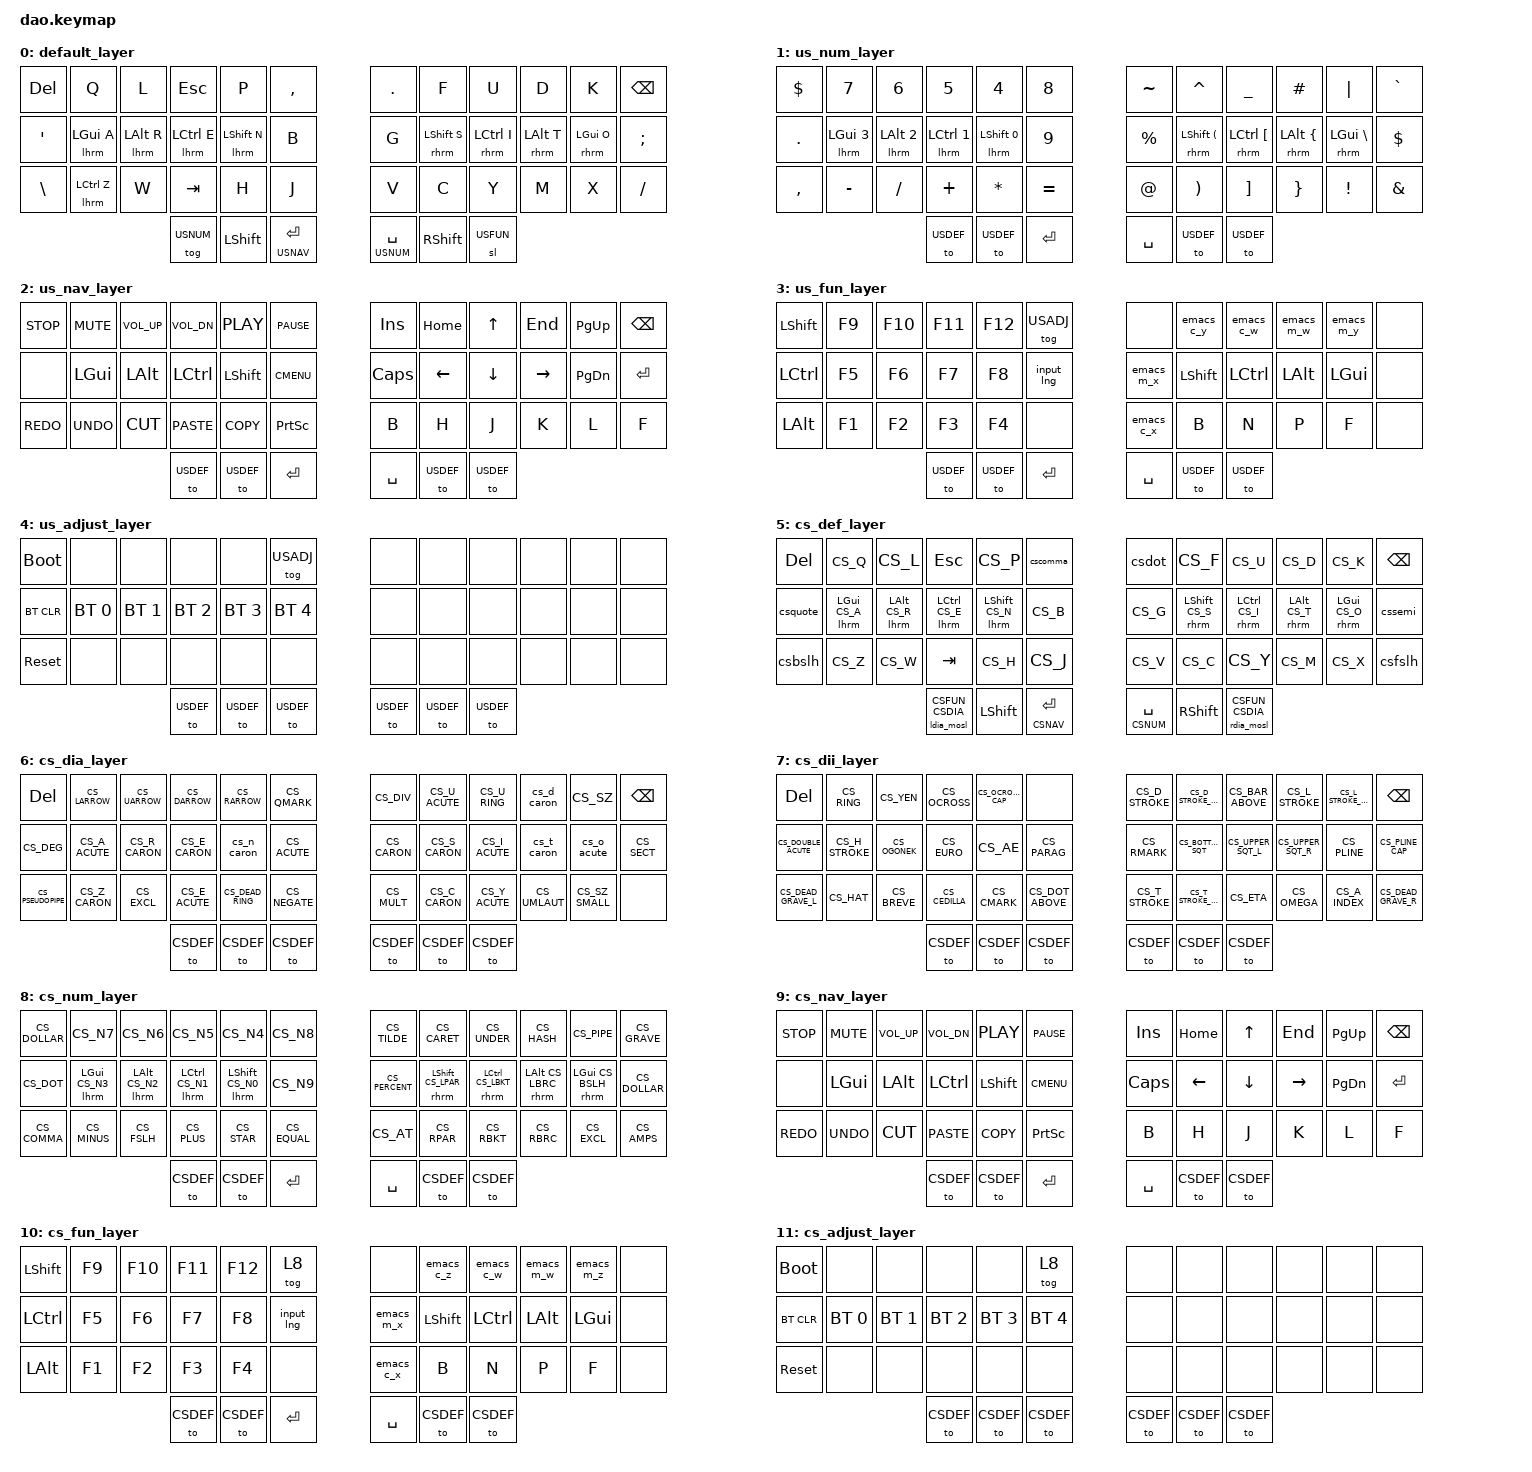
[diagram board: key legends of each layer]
/*
 * Copyright (c) 2021 Rafael Yumagulov
 *
 * SPDX-License-Identifier: MIT
 */

#include <behaviors.dtsi>
#include <dt-bindings/zmk/keys.h>
#include <dt-bindings/zmk/bt.h>

// Czech Linux keyboard
#include "keys_cs.h"

// Layer numbers
#define USDEF 0
#define USNUM 1
#define USNAV 2
#define USFUN 3
#define USADJ 4
#define CSDEF 5
#define CSDIA 6
#define CSDII 7
#define CSNUM 8
#define CSNAV 9
#define CSFUN 10
#define CSADJ 11

// Other number definitions
#define TAPPING_TERM 150
#define SHIFT_TAP_MS 170
#define QUICK_TAP_MS 110
#define PRIOR_IDLE_MS 150
#define COMBO_TIME_MS 25

// Behavior customizations
// settings and homerow mods inspired by https://github.com/urob/zmk-config/

&sk {
    release-after-ms = <900>;
    quick-release;
};

&sl {
    ignore-modifiers;
};

&lt {
    flavor = "balanced";
    tapping-term-ms = <TAPPING_TERM>;
    quick-tap-ms = <QUICK_TAP_MS>;
};

&mt {
    quick_tap_ms = <QUICK_TAP_MS>;
};

// ZMK feature macros
// https://github.com/filterpaper/zmk-config

//additional  arguments for hold-trigger-key-positions and hold-trigger-on-release
// customizable hold-tap for keypress
#define HTK(name, tap_flavor, tap_term, ...)  \
name: name##_hold_tap {                       \
    label           = #name;                  \
    flavor          = #tap_flavor;            \
    compatible      = "zmk,behavior-hold-tap";\
    tapping-term-ms = <tap_term>;             \
    quick-tap-ms    = <QUICK_TAP_MS>;         \
    require-prior-idle-ms = <PRIOR_IDLE_MS>;  \
    #binding-cells  = <2>;                    \
    bindings        = <&kp>, <&kp>;           \
    __VA_ARGS__                               \
};

// customizeble hold-tap for any behavior
#define HTMOSL(name, tap_flavor, tap_term, ...) \
name: name##_hold_tap {                       \
    label           = #name;                  \
    flavor          = #tap_flavor;            \
    compatible      = "zmk,behavior-hold-tap";\
    tapping-term-ms = <tap_term>;             \
    quick-tap-ms    = <QUICK_TAP_MS>;         \
    require-prior-idle-ms = <PRIOR_IDLE_MS>;  \
    #binding-cells = <2>;                     \
    bindings        = <&mo>, <&sl>;           \
    __VA_ARGS__                               \
};

// one-line combos
#define COMBO(name, pos, lrs, kp)    \
combo_##name {                       \
    timeout-ms    = <25>; \
    bindings      = <kp>;            \
    key-positions = <pos>;           \
    layers        = <lrs>;           \
};

// one-line macros
#define MACRO(name, ...)                  \
name: name##_macro {                      \
    label          = #name;               \
    compatible     = "zmk,behavior-macro";\
    tap-ms         = <1>;                 \
    wait-ms        = <1>;                 \
    #binding-cells = <0>;                 \
    bindings       = __VA_ARGS__          \
};

/ {
    chosen {
        zmk,matrix_transform = &default_transform;
        // zmk,matrix_transform = &extra_keys_transform;
    };
};

/ {
        macros {
             // Czech symbols
             MACRO(cs_t_caron, <&macro_tap &kp CS_CARON &kp CS_T>;)
             MACRO(cs_n_caron, <&macro_tap &kp CS_CARON &kp CS_N>;)
             MACRO(cs_d_caron, <&macro_tap &kp CS_CARON &kp CS_D>;)
             MACRO(cs_o_acute, <&macro_tap &kp CS_ACUTE &kp CS_O>;)
             // Emacs convenience macros
             MACRO(emacs_c_x, <&macro_press &kp LCTRL>, <&macro_tap &kp X>, <&macro_release &kp LCTRL>;)
             MACRO(emacs_c_y, <&macro_press &kp LCTRL>, <&macro_tap &kp Y>, <&macro_release &kp LCTRL>;)
             MACRO(emacs_c_z, <&macro_press &kp LCTRL>, <&macro_tap &kp Y>, <&macro_release &kp LCTRL>;)
             MACRO(emacs_c_x_e, <&macro_press &kp LCTRL> , <&macro_tap &kp X> , <&macro_release &kp LCTRL> , <&macro_tap &kp E>;)
             MACRO(emacs_c_w, <&macro_press &kp LCTRL> , <&macro_tap &kp W> , <&macro_release &kp LCTRL>;)
             MACRO(emacs_c_x_u, <&macro_press &kp LCTRL> , <&macro_tap &kp X> , <&macro_release &kp LCTRL> , <&macro_tap &kp U>;)
             MACRO(emacs_c_x_r, <&macro_press &kp LCTRL> , <&macro_tap &kp X> , <&macro_release &kp LCTRL> , <&macro_tap &kp R>;)
             MACRO(emacs_m_x, <&macro_press &kp LALT> , <&macro_tap &kp X> , <&macro_release &kp LALT>;)
             MACRO(emacs_m_w, <&macro_press &kp LALT> , <&macro_tap &kp W> , <&macro_release &kp LALT>;)
             MACRO(emacs_m_y, <&macro_press &kp LALT> , <&macro_tap &kp Y> , <&macro_release &kp LALT>;)
             MACRO(emacs_m_z, <&macro_press &kp LALT> , <&macro_tap &kp Y> , <&macro_release &kp LALT>;)
             // General convenience macros
             MACRO(input_lng, <&macro_press &kp LCTRL> , <&macro_press &kp LALT> , <&macro_tap &kp K> , <&macro_release &kp LCTRL> , <&macro_release &kp LALT>;)
        };

        behaviors {
                HTK(lhrm, balanced, TAPPING_TERM)
                HTK(rhrm, balanced, TAPPING_TERM)
                HTMOSL(ldia_mosl, hold-preferred, TAPPING_TERM)
                HTMOSL(rdia_mosl, hold-preferred, TAPPING_TERM)
                csquote: csquote {
                    label          = "csquote";
                    compatible     = "zmk,behavior-mod-morph";
                    #binding-cells = <0>;
                    bindings       = <&kp CS_SQT>, <&kp CS_DQT>;
                    mods           = <(MOD_LSFT|MOD_RSFT)>;
                };
                csbslh: csbslh {
                    label          = "csbslh";
                    compatible     = "zmk,behavior-mod-morph";
                    #binding-cells = <0>;
                    bindings       = <&kp CS_BSLH>, <&kp CS_PIPE>;
                    mods           = <(MOD_LSFT|MOD_RSFT)>;
                };
                csdot: csdot {
                    label          = "csdot";
                    compatible     = "zmk,behavior-mod-morph";
                    #binding-cells = <0>;
                    bindings       = <&kp CS_DOT>, <&kp CS_LT>;
                    mods           = <(MOD_LSFT|MOD_RSFT)>;
                };
                cscomma: cscomma {
                    label          = "cscomma";
                    compatible     = "zmk,behavior-mod-morph";
                    #binding-cells = <0>;
                    bindings       = <&kp CS_COMMA>, <&kp CS_GT>;
                    mods           = <(MOD_LSFT|MOD_RSFT)>;
                };
                csfslh: csfslh {
                    label          = "csfslh";
                    compatible     = "zmk,behavior-mod-morph";
                    #binding-cells = <0>;
                    bindings       = <&kp CS_FSLH>, <&kp CS_QMARK>;
                    mods           = <(MOD_LSFT|MOD_RSFT)>;
                };
                cssemi: cssemi {
                    label          = "cssemi";
                    compatible     = "zmk,behavior-mod-morph";
                    #binding-cells = <0>;
                    bindings       = <&kp CS_SEMI>, <&kp CS_COLON>;
                    mods           = <(MOD_LSFT|MOD_RSFT)>;
                };
        };

        combos {
            compatible = "zmk,combos";
            COMBO(lag, 28 29, USDEF USNUM CSDEF CSNUM, &kp RALT)
            COMBO(rag, 33 34, USDEF USNUM CSDEF CSNUM, &kp RALT)
            COMBO(csdeflayer, 12 13, USDEF CSDEF, &tog CSDEF)
            COMBO(csdiilayer, 24 25, CSDEF, &tog CSDII)
            COMBO(usnavlayer, 22 23, USDEF, &tog USNAV)
            COMBO(usnumlayer, 10 11, USDEF, &tog USNUM)
            COMBO(usfunlayer, 34 35, USDEF, &tog USFUN)
            COMBO(csnavlayer, 22 23, CSDEF, &tog CSNAV)
            COMBO(csnumlayer, 10 11, CSDEF, &tog CSNUM)
            COMBO(csfunlayer, 34 35, CSDEF, &tog CSFUN)
            COMBO(copy, 15 16, USDEF CSDEF, &kp K_COPY)
            COMBO(paste, 13 14, USDEF CSDEF, &kp K_PASTE)
            COMBO(repeat, 14 15, USDEF CSDEF, &key_repeat)

            COMBO(us_star, 7 19, USDEF, &kp STAR)
            COMBO(us_fslh, 4 16, USDEF, &kp FSLH)
            COMBO(us_plus, 8 20, USDEF, &kp PLUS)
            COMBO(us_minus, 3 15, USDEF, &kp MINUS)
            COMBO(us_caret, 9 21, USDEF, &kp CARET)
            COMBO(us_under, 2 14, USDEF, &kp UNDER)
            COMBO(us_dollar, 10 22, USDEF, &kp DOLLAR)
            COMBO(us_amps, 1 13, USDEF, &kp AMPS)
            COMBO(us_equal, 18 19, USDEF, &kp EQUAL)
            COMBO(us_at, 16 28, USDEF, &kp AT)
            COMBO(us_percent, 15 27, USDEF, &kp PERCENT)
            COMBO(us_tilde, 14 26, USDEF, &kp TILDE)
            COMBO(us_grave, 13 25, USDEF, &kp GRAVE)
            COMBO(us_hash, 19 31, USDEF, &kp HASH)
            COMBO(us_lpar, 19 20, USDEF, &kp LPAR)
            COMBO(us_rpar, 21 22, USDEF, &kp RPAR)
            COMBO(us_lbkt, 7 8, USDEF, &kp LBKT)
            COMBO(us_rbkt, 9 10, USDEF, &kp RBKT)
            COMBO(us_lbrc, 31 32, USDEF, &kp LBRC)
            COMBO(us_rbrc, 33 34, USDEF, &kp RBRC)
            COMBO(us_excl, 1 2, USDEF, &kp EXCL)
            COMBO(us_qmark, 3 4, USDEF, &kp QMARK)

            COMBO(cs_star, 7 19, CSDEF, &kp CS_STAR)
            COMBO(cs_fslh, 4 16, CSDEF, &kp CS_FSLH)
            COMBO(cs_plus, 8 20, CSDEF, &kp CS_PLUS)
            COMBO(cs_minus, 3 15, CSDEF, &kp CS_MINUS)
            COMBO(cs_caret, 9 21, CSDEF, &kp CS_CARET)
            COMBO(cs_under, 2 14, CSDEF, &kp CS_UNDER)
            COMBO(cs_dollar, 10 22, CSDEF, &kp CS_DOLLAR)
            COMBO(cs_amps, 1 13, CSDEF, &kp CS_AMPS)
            COMBO(cs_equal, 18 19, CSDEF, &kp CS_EQUAL)
            COMBO(cs_at, 16 28, CSDEF, &kp CS_AT)
            COMBO(cs_percent, 15 27, CSDEF, &kp CS_PERCENT)
            COMBO(cs_tilde, 14 26, CSDEF, &kp CS_TILDE)
            COMBO(cs_grave, 13 25, CSDEF, &kp CS_GRAVE)
            COMBO(cs_hash, 19 31, CSDEF, &kp CS_HASH)
            COMBO(cs_lpar, 19 20, CSDEF, &kp CS_LPAR)
            COMBO(cs_rpar, 21 22, CSDEF, &kp CS_RPAR)
            COMBO(cs_lbkt, 7 8, CSDEF, &kp CS_LBKT)
            COMBO(cs_rbkt, 9 10, CSDEF, &kp CS_RBKT)
            COMBO(cs_lbrc, 31 32, CSDEF, &kp CS_LBRC)
            COMBO(cs_rbrc, 33 34, CSDEF, &kp CS_RBRC)
            COMBO(cs_excl, 1 2, CSDEF, &kp CS_EXCL)
            COMBO(cs_qmark, 3 4, CSDEF, &kp CS_QMARK)
        };

// ------------------------------------------------------------------------------------------------------------
// |  0    |  1  |  2  |  3   |  4   |  5   |          x         |  6   |  7    |  8    |  9   |  10   |  11   |
// |  12   |  13 |  14 |  15  |  16  |  17  |          x         |  18  |  19   |  20   |  21  |  22   |  23   |
// |  24   |  25 |  26 |  27  |  28  |  29  |          x         |  30  |  31   |  32   |  33  |  34   |  35   |
//                            |  36  |  37  |  38    | x |  39   |  40  |  41   |
//
        keymap {
                compatible = "zmk,keymap";
// Layer list
// 0. default_layer
// 1. us_num_layer
// 2. us_nav_layer
// 3. us_fun_layer
// 4. us_adjust_layer
// 5. cs_base_layer
// 6. cs_dia_layer
// 7. cs_dii_layer
// 8. cs_num_layer
// 9. cs_nav_layer
// 10. cs_fun_layer
// 11. cs_adjust_layer

                default_layer {
// ------------------------------------------------------------------------------------------------------------
// |  DEL  |  Q  |  L  | ESC  |  P   | ,↑<  |                   | .↑>  |  F   |  U    |  D   |   K   | BKSPC |
// |  '↑"  |  A  |  R  |  E   |  N   |  B   |                   |  G   |  S   |  I    |  T   |   O   |  ;↑:  |
// |  \↑|  |  Z  |  W  | TAB  |  H   |  J   |                   |  V   |  C   |  Y    |  M   |   X   |  /↑?  |
//                            |NUMTOG| SHFT |  SPACE |  | ENTER | SHFT | FUN  |
                         bindings = <
          &kp DEL  &kp Q           &kp L        &kp ESC       &kp P         &kp COMMA                                   &kp DOT   &kp F         &kp U         &kp D        &kp K        &kp BSPC
          &kp SQT  &lhrm LGUI A    &lhrm LALT R &lhrm LCTRL E &lhrm LSHFT N &kp B                                       &kp G     &rhrm LSHFT S &rhrm LCTRL I &rhrm LALT T &rhrm LGUI O &kp SEMI
          &kp BSLH &lhrm LCTRL Z   &kp W        &kp TAB       &kp H         &kp J                                       &kp V     &kp C         &kp Y         &kp M        &kp X        &kp FSLH
                                                              &tog USNUM    &kp LSHFT &lt USNAV ENTER  &lt USNUM SPACE  &kp RSHFT &sl USFUN
                        >;
                };
                us_num_layer {
// ------------------------------------------------------------------------------------------------------------
// |   $   |  7  |  6  |  5   |  4   |  8   |                   |  ~   |  ^    |  _    |  #   |   |   |  `    |
// |   .   |  3  |  2  |  1   |  0   |  9   |                   |  %   |  (    |  [    |  {   |   \   |  $    |
// |   ,   |  -  |  /  |  +   |  *   |  =   |                   |  @   |  )    |  ]    |  }   |   !   |  &    |
//                            |      |      |        |  |       |      |       |
                        bindings = <
          &kp DOLLAR &kp N7        &kp N6        &kp N5         &kp N4          &kp N8                         &kp TILDE   &kp CARET         &kp UNDER        &kp HASH        &kp PIPE        &kp GRAVE
          &kp DOT    &lhrm LGUI N3 &lhrm LALT N2 &lhrm LCTRL N1 &lhrm LSHFT N0  &kp N9                         &kp PERCENT &rhrm LSHFT LPAR  &rhrm LCTRL LBKT &rhrm LALT LBRC &rhrm LGUI BSLH &kp DOLLAR
          &kp COMMA  &kp MINUS     &kp FSLH      &kp PLUS       &kp STAR        &kp EQUAL                      &kp AT      &kp RPAR          &kp RBKT         &kp RBRC        &kp EXCL        &kp AMPS
                                                                &to USDEF       &to USDEF &kp ENTER  &kp SPACE &to USDEF   &to USDEF
                        >;
                };

                us_nav_layer {
                        bindings = <
          &kp C_STOP &kp C_MUTE &kp C_VOL_UP &kp C_VOL_DN &kp C_PLAY &kp C_PAUSE                      &kp INS   &kp HOME  &kp UP   &kp END   &kp PG_UP &kp BSPC
          &none      &kp LGUI   &kp LALT     &kp LCTRL    &kp LSHFT  &kp K_CMENU                      &kp CAPS  &kp LEFT  &kp DOWN &kp RIGHT &kp PG_DN &kp ENTER
          &kp K_REDO &kp K_UNDO &kp K_CUT    &kp K_PASTE  &kp K_COPY &kp PSCRN                        &kp B     &kp H     &kp J    &kp K     &kp L     &kp F
                                                          &to USDEF  &to USDEF   &kp ENTER  &kp SPACE &to USDEF &to USDEF
                        >;
                };

                us_fun_layer {
                        bindings = <
          &kp LSHFT &kp F9 &kp F10 &kp F11 &kp F12   &tog USADJ                     &none       &emacs_c_y &emacs_c_w &emacs_m_w &emacs_m_y &none
          &kp LCTRL &kp F5 &kp F6  &kp F7  &kp F8    &input_lng                     &emacs_m_x  &kp LSHFT  &kp LCTRL  &kp LALT   &kp LGUI   &none
          &kp LALT  &kp F1 &kp F2  &kp F3  &kp F4    &none                          &emacs_c_x  &kp B      &kp N      &kp P      &kp F      &none
                                           &to USDEF &to USDEF &kp ENTER  &kp SPACE &to USDEF   &to USDEF
                        >;
                };

                us_adjust_layer {
                        bindings = <
          &bootloader &none        &none        &none        &none        &tog USADJ                       &none     &none     &none     &none  &none  &none
          &bt BT_CLR  &bt BT_SEL 0 &bt BT_SEL 1 &bt BT_SEL 2 &bt BT_SEL 3 &bt BT_SEL 4                     &none     &none     &none     &none  &none  &none
          &sys_reset  &none        &none        &none        &none        &none                            &none     &none     &none     &none  &none  &none
                                                                          &to USDEF    &to USDEF &to USDEF &to USDEF &to USDEF &to USDEF
                        >;
                };

                cs_def_layer {
// ------------------------------------------------------------------------------------------------------------
// |  DEL  |  Q  |  L  | ESC  |  P   | ,↑<  |                   | .↑>  |  F   |  U    |  D   |   K   | BKSPC |
// |  '↑"  |  A  |  R  |  E   |  N   |  B   |                   |  G   |  S   |  I    |  T   |   O   |  ;↑:  |
// |  \↑|  |  Z  |  W  | TAB  |  H   |  J   |                   |  V   |  C   |  Y    |  M   |   X   |  /↑?  |
//                            | NAV  |      |  SPACE |  | ENTER |      | FUN  |
                         bindings = <
          &kp DEL   &kp CS_Q        &kp CS_L        &kp ESC          &kp CS_P               &cscomma                                       &csdot    &kp CS_F              &kp CS_U        &kp CS_D        &kp CS_K         &kp BSPC
          &csquote  &lhrm LGUI CS_A &lhrm LALT CS_R &lhrm LCTRL CS_E &lhrm LSHFT CS_N       &kp CS_B                                       &kp CS_G  &rhrm LSHFT CS_S      &rhrm LCTRL CS_I &rhrm LALT CS_T &rhrm LGUI CS_O &cssemi
          &csbslh   &kp CS_Z        &kp CS_W        &kp TAB          &kp CS_H               &kp CS_J                                       &kp CS_V  &kp CS_C              &kp CS_Y        &kp CS_M        &kp CS_X         &csfslh
                                                                     &ldia_mosl CSFUN CSDIA &kp LSHFT  &lt CSNAV ENTER  &lt CSNUM SPACE    &kp RSHFT &rdia_mosl CSFUN CSDIA
                        >;
                };

                cs_dia_layer {
// ------------------------------------------------------------------------------------------------------------
// |  DEL  |  ←  |  ↑  |  ↓   |  →   |      |                   |  ÷   |  ú   |  ů    |  ď   |   ß   | BKSPC |
// |   º   |  á  |  ř  |  ě   |  ň   |  ´   |                   |  ˇ   |  š   |  í    |  ť   |   ó   |   §   |
// |   ¦   |  ž  |     |  é   |  °   |  ı   |                   |  ×   |  č   |  ý    |  ¨   |   ẞ   |       |
//                            |      |      |  SPACE |  | ENTER |      |      |
                         bindings = <
          &kp DEL           &kp CS_LARROW    &kp CS_UARROW  &kp CS_DARROW  &kp CS_RARROW    &kp CS_QMARK                        &kp CS_DIV      &kp CS_U_ACUTE &kp CS_U_RING  &cs_d_caron     &kp CS_SZ       &kp BSPC
          &kp CS_DEG        &kp CS_A_ACUTE   &kp CS_R_CARON &kp CS_E_CARON &cs_n_caron      &kp CS_ACUTE                        &kp CS_CARON    &kp CS_S_CARON &kp CS_I_ACUTE &cs_t_caron     &cs_o_acute     &kp CS_SECT
          &kp CS_PSEUDOPIPE &kp CS_Z_CARON   &kp CS_EXCL    &kp CS_E_ACUTE &kp CS_DEAD_RING &kp CS_NEGATE                       &kp CS_MULT     &kp CS_C_CARON &kp CS_Y_ACUTE &kp CS_UMLAUT   &kp CS_SZ_SMALL &none
                                                                           &to CSDEF        &to CSDEF      &to CSDEF  &to CSDEF &to CSDEF       &to CSDEF
                        >;
                };

                cs_dii_layer {
// ------------------------------------------------------------------------------------------------------------
// |  DEL  |  °  |  ¥  |  ø   |  Ø   |      |                   |  đ   |  Ð   |  ¯    |  ł   |   Ł   | BKSPC |
// |   ˝   |  Ħ  |  ˛  |  €   |  Æ   |  ¶   |                   |  ®   |  ‚   |  ‘    |  ’   |   þ   |   Þ   |
// |   `   |  ^  |  ˘  |  ¸   |  ©   |  ˙   |                   |  ŧ   |  Ŧ   |  Ŋ    |  Ω   |   ª   |   ´   |
//                            |      |      |  SPACE |  | ENTER |      |      |
                         bindings = <
          &kp DEL             &kp CS_RING     &kp CS_YEN    &kp CS_OCROSS  &kp CS_OCROSS_CAP &none                                 &kp CS_D_STROKE  &kp CS_D_STROKE_CAP  &kp CS_BAR_ABOVE   &kp CS_L_STROKE    &kp CS_L_STROKE_CAP &kp BSPC
          &kp CS_DOUBLE_ACUTE &kp CS_H_STROKE &kp CS_OGONEK &kp CS_EURO    &kp CS_AE         &kp CS_PARAG                          &kp CS_RMARK     &kp CS_BOTTOM_SQT    &kp CS_UPPER_SQT_L &kp CS_UPPER_SQT_R &kp CS_PLINE        &kp CS_PLINE_CAP
          &kp CS_DEAD_GRAVE_L &kp CS_HAT      &kp CS_BREVE  &kp CS_CEDILLA &kp CS_CMARK      &kp CS_DOT_ABOVE                      &kp CS_T_STROKE  &kp CS_T_STROKE_CAP  &kp CS_ETA         &kp CS_OMEGA       &kp CS_A_INDEX      &kp CS_DEAD_GRAVE_R
                                                                           &to CSDEF         &to CSDEF        &to CSDEF  &to CSDEF &to CSDEF &to CSDEF
                        >;
                };

                cs_num_layer {
// ------------------------------------------------------------------------------------------------------------
// |   $   |  7  |  6  |  5   |  4   |  8   |                   |  ~   |  ^    |  _    |  #   |   |   |  `    |
// |   .   |  3  |  2  |  1   |  0   |  9   |                   |  %   |  (    |  [    |  {   |   \   |  $    |
// |   ,   |  -  |  /  |  +   |  *   |  =   |                   |  @   |  )    |  ]    |  }   |   !   |  &    |
//                            |      |      |        |  |       |      |       |
                        bindings = <
          &kp CS_DOLLAR &kp CS_N7        &kp CS_N6        &kp CS_N5         &kp CS_N4          &kp CS_N8                         &kp CS_TILDE   &kp CS_CARET         &kp CS_UNDER        &kp CS_HASH        &kp CS_PIPE        &kp CS_GRAVE
          &kp CS_DOT    &lhrm LGUI CS_N3 &lhrm LALT CS_N2 &lhrm LCTRL CS_N1 &lhrm LSHFT CS_N0  &kp CS_N9                         &kp CS_PERCENT &rhrm LSHFT CS_LPAR  &rhrm LCTRL CS_LBKT &rhrm LALT CS_LBRC &rhrm LGUI CS_BSLH &kp CS_DOLLAR
          &kp CS_COMMA  &kp CS_MINUS     &kp CS_FSLH      &kp CS_PLUS       &kp CS_STAR        &kp CS_EQUAL                      &kp CS_AT      &kp CS_RPAR          &kp CS_RBKT         &kp CS_RBRC        &kp CS_EXCL        &kp CS_AMPS
                                                                            &to CSDEF          &to CSDEF    &kp ENTER  &kp SPACE &to CSDEF      &to CSDEF
                        >;
                };

                cs_nav_layer {
                        bindings = <
          &kp C_STOP &kp C_MUTE &kp C_VOL_UP &kp C_VOL_DN &kp C_PLAY &kp C_PAUSE                      &kp INS   &kp HOME &kp UP   &kp END   &kp PG_UP &kp BSPC
          &none      &kp LGUI   &kp LALT     &kp LCTRL    &kp LSHFT  &kp K_CMENU                      &kp CAPS  &kp LEFT &kp DOWN &kp RIGHT &kp PG_DN &kp ENTER
          &kp K_REDO &kp K_UNDO &kp K_CUT    &kp K_PASTE  &kp K_COPY &kp PSCRN                        &kp B     &kp H    &kp J    &kp K     &kp L     &kp F
                                                          &to CSDEF  &to CSDEF   &kp ENTER  &kp SPACE &to CSDEF &to CSDEF
                        >;
                };

                cs_fun_layer {
                        bindings = <
          &kp LSHFT &kp F9 &kp F10 &kp F11 &kp F12   &tog 8                         &none       &emacs_c_z &emacs_c_w &emacs_m_w &emacs_m_z &none
          &kp LCTRL &kp F5 &kp F6  &kp F7  &kp F8    &input_lng                     &emacs_m_x  &kp LSHFT  &kp LCTRL  &kp LALT   &kp LGUI   &none
          &kp LALT  &kp F1 &kp F2  &kp F3  &kp F4    &none                          &emacs_c_x  &kp B      &kp N      &kp P      &kp F      &none
                                           &to CSDEF &to CSDEF  &kp ENTER &kp SPACE &to CSDEF   &to CSDEF
                        >;
                };

                cs_adjust_layer {
                        bindings = <
          &bootloader &none        &none        &none        &none        &tog 8                             &none      &none  &none  &none  &none  &none
          &bt BT_CLR  &bt BT_SEL 0 &bt BT_SEL 1 &bt BT_SEL 2 &bt BT_SEL 3 &bt BT_SEL 4                       &none      &none  &none  &none  &none  &none
          &sys_reset  &none        &none        &none        &none        &none                              &none      &none  &none  &none  &none  &none
                                                             &to CSDEF    &to CSDEF    &to CSDEF  &to CSDEF  &to CSDEF  &to CSDEF
                        >;
                };
        };
};
